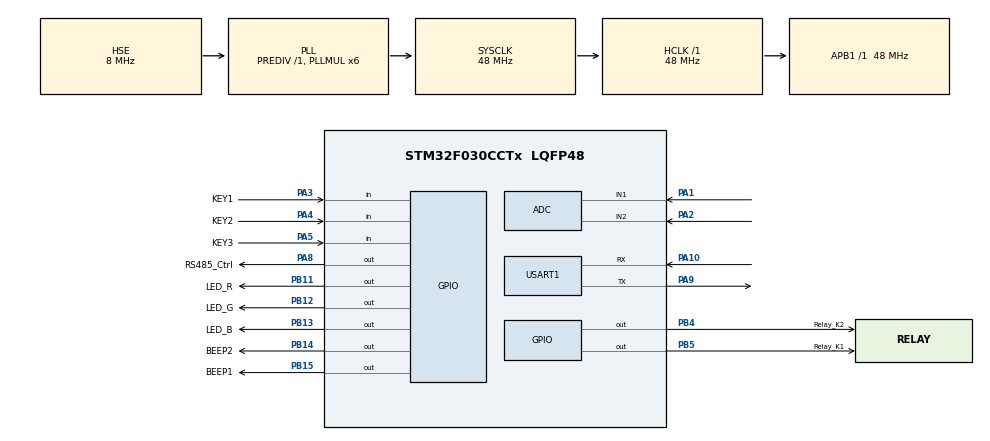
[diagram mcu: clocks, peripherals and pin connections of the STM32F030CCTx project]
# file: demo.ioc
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ADC.DiscontinuousConvMode=ENABLE
FREERTOS.Tasks01=defaultTask,24,128,StartDefaultTask,Default,NULL,Dynamic,NULL,NULL
Mcu.Family=STM32F0
Mcu.Name=STM32F030CCTx
Mcu.Package=LQFP48
NVIC.USART1_IRQn=true\:3\:0\:false\:false\:true\:true\:true\:true\:true
PA1.Mode=IN1
PA1.Signal=ADC_IN1
PA10.Mode=Asynchronous
PA10.Signal=USART1_RX
PA13.Mode=Serial_Wire
PA13.Signal=SYS_SWDIO
PA14.Mode=Serial_Wire
PA14.Signal=SYS_SWCLK
PA2.Mode=IN2
PA2.Signal=ADC_IN2
PA3.GPIO_Label=KEY1
PA3.Signal=GPIO_Input
PA4.GPIO_Label=KEY2
PA4.Signal=GPIO_Input
PA5.GPIO_Label=KEY3
PA5.Signal=GPIO_Input
PA8.GPIO_Label=RS485_Ctrl
PA8.Signal=GPIO_Output
PA9.Mode=Asynchronous
PA9.Signal=USART1_TX
PB11.GPIO_Label=LED_R
PB11.PinState=GPIO_PIN_RESET
PB11.Signal=GPIO_Output
PB12.GPIO_Label=LED_G
PB12.PinState=GPIO_PIN_RESET
PB12.Signal=GPIO_Output
PB13.GPIO_Label=LED_B
PB13.PinState=GPIO_PIN_RESET
PB13.Signal=GPIO_Output
PB14.GPIO_Label=BEEP2
PB14.Signal=GPIO_Output
PB15.GPIO_Label=BEEP1
PB15.Signal=GPIO_Output
PB4.GPIO_Label=Relay_K2
PB4.Signal=GPIO_Output
PB5.GPIO_Label=Relay_K1
PB5.Signal=GPIO_Output
PF0-OSC_IN.Mode=HSE-External-Oscillator
PF0-OSC_IN.Signal=RCC_OSC_IN
PF1-OSC_OUT.Mode=HSE-External-Oscillator
PF1-OSC_OUT.Signal=RCC_OSC_OUT
ProjectManager.HeapSize=0x200
ProjectManager.StackSize=0x400
ProjectManager.TargetToolchain=MDK-ARM V5.32
RCC.AHBFreq_Value=48000000
RCC.APB1Freq_Value=48000000
RCC.APB1TimFreq_Value=48000000
RCC.EnbaleCSS=true
RCC.HCLKFreq_Value=48000000
RCC.PLLMUL=RCC_PLL_MUL6
RCC.PLLSourceVirtual=RCC_PLLSOURCE_HSE
RCC.SYSCLKFreq_VALUE=48000000
RCC.SYSCLKSource=RCC_SYSCLKSOURCE_PLLCLK
USART1.VirtualMode-Asynchronous=VM_ASYNC
VP_FREERTOS_VS_CMSIS_V2.Mode=CMSIS_V2
board=custom

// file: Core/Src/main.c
/* USER CODE BEGIN Header */
/**
  ******************************************************************************
  * @file           : main.c
  * @brief          : Main program body
  ******************************************************************************
  * @attention
  *
  * Copyright (c) 2024 STMicroelectronics.
  * All rights reserved.
  *
  * This software is licensed under terms that can be found in the LICENSE file
  * in the root directory of this software component.
  * If no LICENSE file comes with this software, it is provided AS-IS.
  *
  ******************************************************************************
  */
/* USER CODE END Header */
#include "main.h"
#include "cmsis_os.h"
#include "adc.h"
#include "usart.h"
#include "gpio.h"

void SystemClock_Config(void);
void MX_FREERTOS_Init(void);

int main(void)
{

  /* MCU Configuration--------------------------------------------------------*/

  /* Reset of all peripherals, Initializes the Flash interface and the Systick. */
  HAL_Init();

  /* Configure the system clock */
  SystemClock_Config();

  /* Initialize all configured peripherals */
  MX_GPIO_Init();
  MX_USART1_UART_Init();
  MX_ADC_Init();

  /* Init scheduler */
  osKernelInitialize();

  /* Call init function for freertos objects (in cmsis_os2.c) */
  MX_FREERTOS_Init();

  /* Start scheduler */
  osKernelStart();

  /* We should never get here as control is now taken by the scheduler */

  /* Infinite loop */
  /* USER CODE BEGIN WHILE */
  while (1)
  {

		HAL_GPIO_WritePin(LED_G_GPIO_Port, LED_G_Pin, GPIO_PIN_RESET);
		HAL_Delay(1000);
		HAL_GPIO_WritePin(LED_G_GPIO_Port, LED_G_Pin, GPIO_PIN_SET);
		HAL_Delay(1000);
    /* USER CODE END WHILE */

  }
}

void SystemClock_Config(void)
{
  RCC_OscInitTypeDef RCC_OscInitStruct = {0};
  RCC_ClkInitTypeDef RCC_ClkInitStruct = {0};
  RCC_PeriphCLKInitTypeDef PeriphClkInit = {0};

  /** Initializes the RCC Oscillators according to the specified parameters
  * in the RCC_OscInitTypeDef structure.
  */
  RCC_OscInitStruct.OscillatorType = RCC_OSCILLATORTYPE_HSI14|RCC_OSCILLATORTYPE_HSE;
  RCC_OscInitStruct.HSEState = RCC_HSE_ON;
  RCC_OscInitStruct.HSI14State = RCC_HSI14_ON;
  RCC_OscInitStruct.HSI14CalibrationValue = 16;
  RCC_OscInitStruct.PLL.PLLState = RCC_PLL_ON;
  RCC_OscInitStruct.PLL.PLLSource = RCC_PLLSOURCE_HSE;
  RCC_OscInitStruct.PLL.PLLMUL = RCC_PLL_MUL6;
  RCC_OscInitStruct.PLL.PREDIV = RCC_PREDIV_DIV1;
  if (HAL_RCC_OscConfig(&RCC_OscInitStruct) != HAL_OK)
  {
    Error_Handler();
  }

  /** Initializes the CPU, AHB and APB buses clocks
  */
  RCC_ClkInitStruct.ClockType = RCC_CLOCKTYPE_HCLK|RCC_CLOCKTYPE_SYSCLK
                              |RCC_CLOCKTYPE_PCLK1;
  RCC_ClkInitStruct.SYSCLKSource = RCC_SYSCLKSOURCE_PLLCLK;
  RCC_ClkInitStruct.AHBCLKDivider = RCC_SYSCLK_DIV1;
  RCC_ClkInitStruct.APB1CLKDivider = RCC_HCLK_DIV1;

  if (HAL_RCC_ClockConfig(&RCC_ClkInitStruct, FLASH_LATENCY_1) != HAL_OK)
  {
    Error_Handler();
  }
  PeriphClkInit.PeriphClockSelection = RCC_PERIPHCLK_USART1;
  PeriphClkInit.Usart1ClockSelection = RCC_USART1CLKSOURCE_PCLK1;
  if (HAL_RCCEx_PeriphCLKConfig(&PeriphClkInit) != HAL_OK)
  {
    Error_Handler();
  }

  /** Enables the Clock Security System
  */
  HAL_RCC_EnableCSS();
}

void Error_Handler(void)
{
  __disable_irq();
  while (1)
  {
  }
}

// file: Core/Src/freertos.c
/* USER CODE BEGIN Header */
/**
  ******************************************************************************
  * File Name          : freertos.c
  * Description        : Code for freertos applications
  ******************************************************************************
  * @attention
  *
  * Copyright (c) 2024 STMicroelectronics.
  * All rights reserved.
  *
  * This software is licensed under terms that can be found in the LICENSE file
  * in the root directory of this software component.
  * If no LICENSE file comes with this software, it is provided AS-IS.
  *
  ******************************************************************************
  */
/* USER CODE END Header */

#include "FreeRTOS.h"
#include "task.h"
#include "main.h"
#include "cmsis_os.h"

/* USER CODE BEGIN Includes */

#include "modbus.h"
#include "errno.h"
#include <string.h>

/* USER CODE END Includes */

/* USER CODE BEGIN PTD */

extern int errno;

/* USER CODE END PTD */

/* USER CODE BEGIN PD */

#define 	SENOR_MONITOR

#ifdef SENOR_SWITCH

#define SLAVE_ADDR						1
#define NB_BITS							5
#define NB_INPUT_BITS					3
#define NB_REGISTERS					0
#define NB_INPUT_REGISTERS				0

#endif

#ifdef SENOR_MONITOR

extern ADC_HandleTypeDef hadc;

#define SLAVE_ADDR						2
#define NB_BITS							5
#define NB_INPUT_BITS					0
#define NB_REGISTERS					0
#define NB_INPUT_REGISTERS				2

#endif

/* USER CODE END PD */

/* Definitions for defaultTask */
osThreadId_t defaultTaskHandle;
const osThreadAttr_t defaultTask_attributes = {
  .name = "defaultTask",
  .stack_size = 128 * 4,
  .priority = (osPriority_t) osPriorityNormal,
};

void StartDefaultTask(void *argument);

void MX_FREERTOS_Init(void); /* (MISRA C 2004 rule 8.1) */

void MX_FREERTOS_Init(void) {

  /* Create the thread(s) */
  /* creation of defaultTask */
  defaultTaskHandle = osThreadNew(StartDefaultTask, NULL, &defaultTask_attributes);

}

void StartDefaultTask(void *argument)
{
  /* USER CODE BEGIN StartDefaultTask */
  /* Infinite loop */
  	GPIO_PinState val;
	uint8_t *query;
	modbus_t *ctx;
	int rc;
	modbus_mapping_t *mb_mapping;

	ctx = modbus_new_st_rtu("uart1", 115200, 'N', 8, 1);
	modbus_set_slave(ctx, SLAVE_ADDR);
	query = pvPortMalloc(MODBUS_RTU_MAX_ADU_LENGTH);

#ifdef SENOR_MONITOR

 	/* caculate the adc */
	HAL_ADCEx_Calibration_Start(&hadc);

#endif

	mb_mapping = modbus_mapping_new_start_address(0,
												  NB_BITS,
												  0,
												  NB_INPUT_BITS,
												  0,
												  NB_REGISTERS,
												  0,
												  NB_INPUT_REGISTERS);

	rc = modbus_connect(ctx);
	if (rc == -1) {
		//fprintf(stderr, "Unable to connect %s\n", modbus_strerror(errno));
		modbus_free(ctx);
		vTaskDelete(NULL);;
	}

	for (;;) {
		do {
			rc = modbus_receive(ctx, query);
			/* Filtered queries return 0 */
		} while (rc == 0);

		/* The connection is not closed on errors which require on reply such as
		   bad CRC in RTU. */
		if (rc == -1 && errno != EMBBADCRC) {
			/* Quit */
			continue;
		}

#ifdef SENOR_SWITCH
		/* update values of R/D bits */
		/* key1~3 -> PA3~5
		*	keyddown -> posedge
		*/
		val = HAL_GPIO_ReadPin(KEY1_GPIO_Port, KEY1_Pin);
		if(val)
			mb_mapping->tab_input_bits[0] = 0;
		else
			mb_mapping->tab_input_bits[0] = 1;

		val = HAL_GPIO_ReadPin(KEY2_GPIO_Port, KEY2_Pin);
		if(val)
			mb_mapping->tab_input_bits[1] = 0;
		else
			mb_mapping->tab_input_bits[1] = 1;

		val = HAL_GPIO_ReadPin(KEY3_GPIO_Port, KEY3_Pin);
		if(val)
			mb_mapping->tab_input_bits[2] = 0;
		else
			mb_mapping->tab_input_bits[2] = 1;

#endif

#ifdef SENOR_MONITOR

		/* update adc values */
		for (int i = 0; i < 2; i++)
		{
			HAL_ADC_Start(&hadc);
			if (HAL_OK == HAL_ADC_PollForConversion(&hadc, 100))
			{
				mb_mapping->tab_input_registers[i] = HAL_ADC_GetValue(&hadc);
			}
		}

#endif

		rc = modbus_reply(ctx, query, rc, mb_mapping);
		if (rc == -1) {
			//break;
		}

#ifdef SENOR_SWITCH
		if (mb_mapping->tab_bits[0])
      HAL_GPIO_WritePin(Relay_K1_GPIO_Port, Relay_K1_Pin, GPIO_PIN_SET); //Relay1
		else
			HAL_GPIO_WritePin(Relay_K1_GPIO_Port, Relay_K1_Pin, GPIO_PIN_RESET);

		if (mb_mapping->tab_bits[1])
      HAL_GPIO_WritePin(Relay_K2_GPIO_Port, Relay_K2_Pin, GPIO_PIN_SET); //Relay2
		else
			HAL_GPIO_WritePin(Relay_K2_GPIO_Port, Relay_K2_Pin, GPIO_PIN_RESET);

		if (mb_mapping->tab_bits[2])
      HAL_GPIO_WritePin(LED_R_GPIO_Port, LED_R_Pin, GPIO_PIN_RESET); //LED1
		else
			HAL_GPIO_WritePin(LED_R_GPIO_Port, LED_R_Pin, GPIO_PIN_SET);
		if (mb_mapping->tab_bits[3])
      HAL_GPIO_WritePin(LED_G_GPIO_Port, LED_G_Pin, GPIO_PIN_RESET); //LED2
		else
			HAL_GPIO_WritePin(LED_G_GPIO_Port, LED_G_Pin, GPIO_PIN_SET);
		if (mb_mapping->tab_bits[4])
      HAL_GPIO_WritePin(LED_B_GPIO_Port, LED_B_Pin, GPIO_PIN_RESET); //LED3
		else
			HAL_GPIO_WritePin(LED_B_GPIO_Port, LED_B_Pin, GPIO_PIN_SET);

#endif

#ifdef SENOR_MONITOR

		/* ctrl the led and beep */
	  if (mb_mapping->tab_bits[0])
	HAL_GPIO_WritePin(BEEP1_GPIO_Port, BEEP1_Pin, GPIO_PIN_SET); //beep1
	  else
		  HAL_GPIO_WritePin(BEEP1_GPIO_Port, BEEP1_Pin, GPIO_PIN_RESET);

	  if (mb_mapping->tab_bits[1])
	HAL_GPIO_WritePin(BEEP2_GPIO_Port, BEEP2_Pin, GPIO_PIN_SET); //beep2
	  else
		  HAL_GPIO_WritePin(BEEP2_GPIO_Port, BEEP2_Pin, GPIO_PIN_RESET);

	  if (mb_mapping->tab_bits[2])
	HAL_GPIO_WritePin(LED_R_GPIO_Port, LED_R_Pin, GPIO_PIN_RESET); //LED1
	  else
		  HAL_GPIO_WritePin(LED_R_GPIO_Port, LED_R_Pin, GPIO_PIN_SET);
	  if (mb_mapping->tab_bits[3])
	HAL_GPIO_WritePin(LED_G_GPIO_Port, LED_G_Pin, GPIO_PIN_RESET); //LED2
	  else
		  HAL_GPIO_WritePin(LED_G_GPIO_Port, LED_G_Pin, GPIO_PIN_SET);
	  if (mb_mapping->tab_bits[4])
	HAL_GPIO_WritePin(LED_B_GPIO_Port, LED_B_Pin, GPIO_PIN_RESET); //LED3
	  else
		  HAL_GPIO_WritePin(LED_B_GPIO_Port, LED_B_Pin, GPIO_PIN_SET);

#endif

	}

	modbus_mapping_free(mb_mapping);
	vPortFree(query);
	/* For RTU */
	modbus_close(ctx);
	modbus_free(ctx);

	vTaskDelete(NULL);
  /* USER CODE END StartDefaultTask */
}
